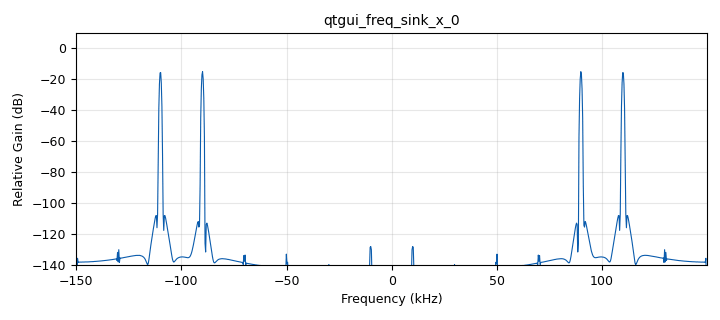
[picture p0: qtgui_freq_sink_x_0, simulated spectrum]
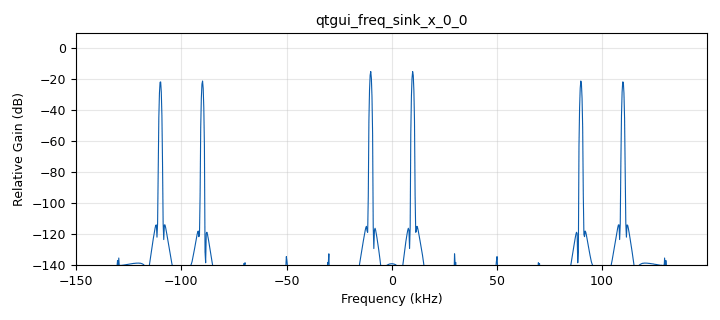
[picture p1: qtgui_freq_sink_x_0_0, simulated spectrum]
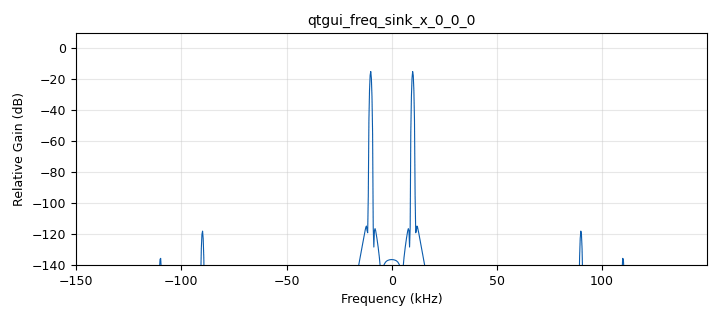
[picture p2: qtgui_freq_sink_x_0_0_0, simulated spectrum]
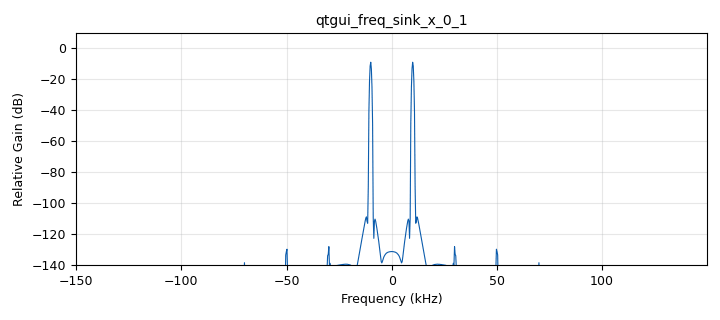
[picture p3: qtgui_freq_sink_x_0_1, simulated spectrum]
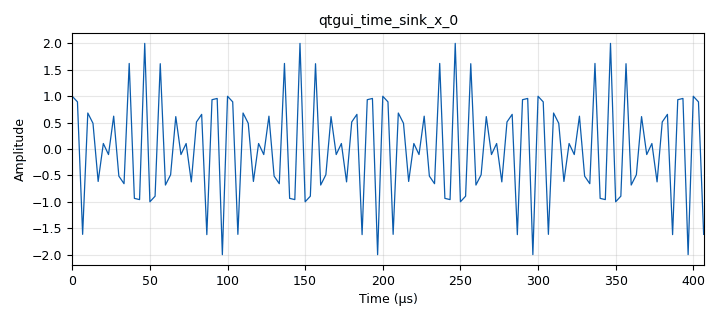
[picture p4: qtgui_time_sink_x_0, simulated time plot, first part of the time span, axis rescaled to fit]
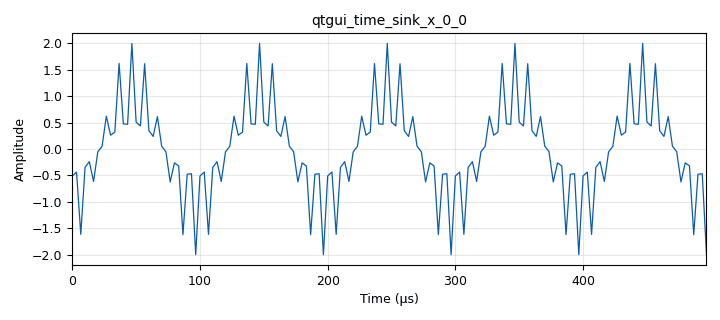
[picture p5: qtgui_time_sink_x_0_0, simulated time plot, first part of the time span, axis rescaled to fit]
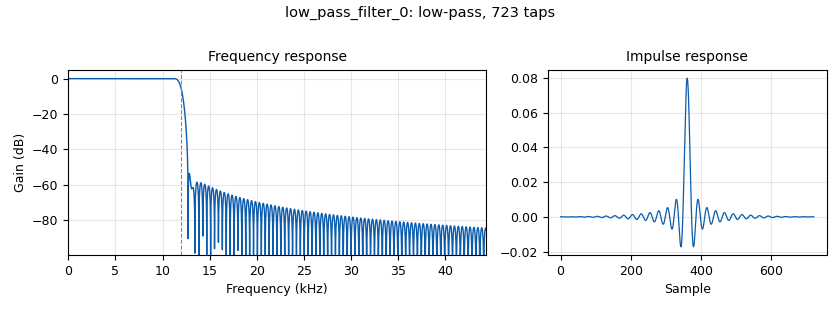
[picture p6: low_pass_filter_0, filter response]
options:
  parameters:
    author: Prajwal
    generate_options: qt_gui
    id: default
    output_language: python
    title: Not titled yet
  states: {}

blocks:
- name: coeff
  id: variable_qtgui_range
  parameters:
    start: '0'
    step: '0.001'
    stop: '0.5'
    value: '0.15'
  states: {}
- name: samp_rate
  id: variable
  parameters:
    value: '300000'
  states: {}
- name: analog_sig_source_x_0
  id: analog_sig_source_x
  parameters:
    amp: '2'
    freq: '10000'
    offset: '0'
    phase: '0'
    samp_rate: samp_rate
    type: float
    waveform: analog.GR_COS_WAVE
  states: {}
- name: analog_sig_source_x_1
  id: analog_sig_source_x
  parameters:
    amp: '1'
    freq: '100000'
    offset: '0'
    phase: '0'
    samp_rate: samp_rate
    type: float
    waveform: analog.GR_COS_WAVE
  states: {}
- name: blocks_multiply_xx_0
  id: blocks_multiply_xx
  parameters:
    type: float
  states: {}
- name: blocks_multiply_xx_1
  id: blocks_multiply_xx
  parameters:
    type: float
  states: {}
- name: low_pass_filter_0
  id: low_pass_filter
  parameters:
    cutoff_freq: '12000'
    gain: '1'
    interp: '1'
    samp_rate: samp_rate
    type: interp_fir_filter_fff
    width: '1000'
    win: window.WIN_HAMMING
  states: {}
- name: qtgui_freq_sink_x_0
  id: qtgui_freq_sink_x
  parameters:
    bw: samp_rate
    fc: '0'
    fftsize: '1024'
    gui_hint: tab@1
    type: float
  states: {}
- name: qtgui_freq_sink_x_0_0
  id: qtgui_freq_sink_x
  parameters:
    bw: samp_rate
    fc: '0'
    fftsize: '1024'
    gui_hint: tab@2
    type: float
  states: {}
- name: qtgui_freq_sink_x_0_0_0
  id: qtgui_freq_sink_x
  parameters:
    bw: samp_rate
    fc: '0'
    fftsize: '1024'
    gui_hint: tab@3
    type: float
  states: {}
- name: qtgui_freq_sink_x_0_1
  id: qtgui_freq_sink_x
  parameters:
    bw: samp_rate
    fc: '0'
    fftsize: '1024'
    gui_hint: tab@0
    type: float
  states: {}
- name: qtgui_time_sink_x_0
  id: qtgui_time_sink_x
  parameters:
    gui_hint: tab@1
    size: '1024'
    srate: samp_rate
    type: float
  states: {}
- name: qtgui_time_sink_x_0_0
  id: qtgui_time_sink_x
  parameters:
    gui_hint: tab@2
    size: '1024'
    srate: samp_rate
    type: float
  states: {}
- name: qtgui_time_sink_x_0_0_0
  id: qtgui_time_sink_x
  parameters:
    gui_hint: tab@3
    size: '1024'
    srate: samp_rate
    type: float
  states: {}
- name: qtgui_time_sink_x_0_1
  id: qtgui_time_sink_x
  parameters:
    gui_hint: tab@0
    size: '1024'
    srate: samp_rate
    type: float
  states: {}
- name: tab
  id: qtgui_tab_widget
  parameters:
    label0: input
    label1: modulated
    label2: mul_by_cos
    label3: demodulated
    num_tabs: '4'
  states: {}

connections:
- [analog_sig_source_x_0, '0', blocks_multiply_xx_0, '0']
- [analog_sig_source_x_0, '0', qtgui_freq_sink_x_0_1, '0']
- [analog_sig_source_x_0, '0', qtgui_time_sink_x_0_1, '0']
- [analog_sig_source_x_1, '0', blocks_multiply_xx_0, '1']
- [analog_sig_source_x_1, '0', blocks_multiply_xx_1, '1']
- [blocks_multiply_xx_0, '0', blocks_multiply_xx_1, '0']
- [blocks_multiply_xx_0, '0', qtgui_freq_sink_x_0, '0']
- [blocks_multiply_xx_0, '0', qtgui_time_sink_x_0, '0']
- [blocks_multiply_xx_1, '0', low_pass_filter_0, '0']
- [blocks_multiply_xx_1, '0', qtgui_freq_sink_x_0_0, '0']
- [blocks_multiply_xx_1, '0', qtgui_time_sink_x_0_0, '0']
- [low_pass_filter_0, '0', qtgui_freq_sink_x_0_0_0, '0']
- [low_pass_filter_0, '0', qtgui_time_sink_x_0_0_0, '0']

metadata:
  file_format: 1
  grc_version: v3.11.0.0git-801-gaf83bc51
